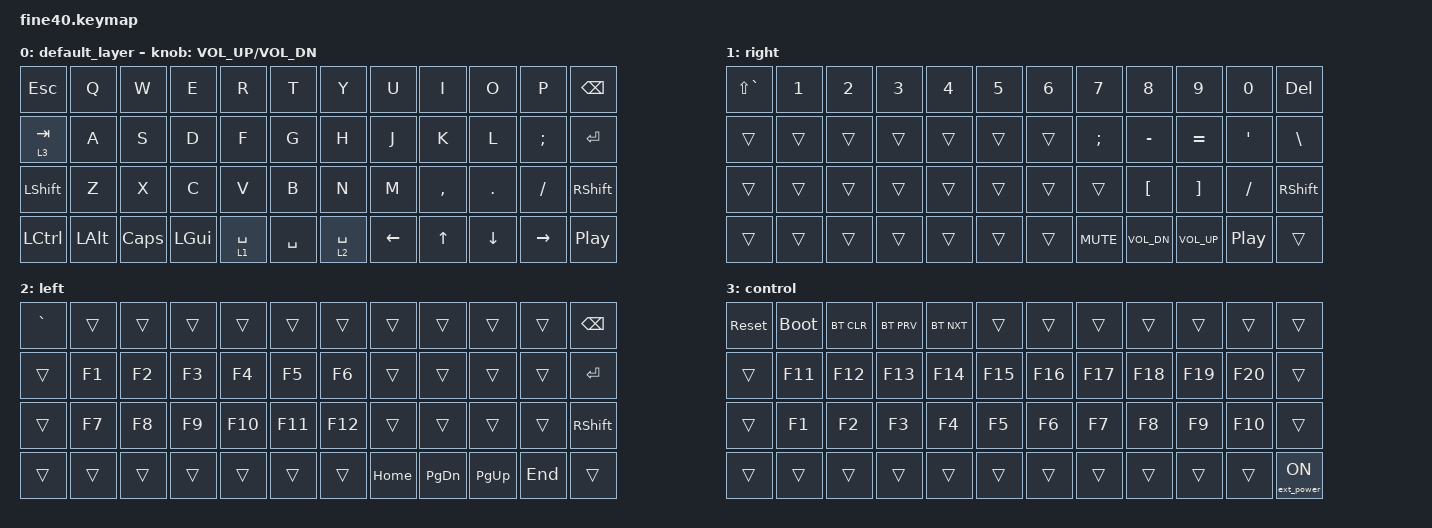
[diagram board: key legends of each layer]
/*
 * Aidan Smith (2021)
 *
 * SPDX-License-Identifier: MIT
 */

#include <behaviors.dtsi>
#include <dt-bindings/zmk/keys.h>
#include <dt-bindings/zmk/bt.h>
#include <dt-bindings/zmk/ext_power.h>

/ {
	keymap {
		compatible = "zmk,keymap";

		default_layer {
				// -----------------------------------------------------------------------------------------
				// |  ESC  |  Q   |  W   |  E   |  R   |  T   |   Y   |  U    |  I   |  O   |   P   | BSPC  |
				// |  TAB  |  A   |  S   |  D   |  F   |  G   |   H   |  J    |  K   |  L   |   ;   |  '    |
				// | SHIFT |  Z   |  X   |  C   |  V   |  B   |   N   |  M    |  ,   |  .   |   /   |  RET  |
				// | LCTL  | LGUI | LALT |  \   | LOWR | SPC  |  RAIS | LARW | DARW | UARW  |  RARW |  P/P  |

				// -----------------------------------------------------------------------------------------
				// |  ESC  |  Q   |  W   |  E   |  R   |  T   |   B   |  V    |  C   |  X   |   Z   |  LSFT |
				// |   Y   |  U   |  I   |  O   |  P   | BSPC |  ENT  |  /    |  .   |  ,   |   M   |   N   |
				// |  TAB  |  A   |  S   |  D   |  F   |  G   |  SPC  |  LOWR |  \   | LALT | LGUI  |  LCTL |
				// |   H   |  J   |  K   |  L   | SCLN | QUTE |  P/P  | RARW | UARW | DARW  |  LARW | RAISE |


			bindings = <
				&kp ESC   &kp Q    &kp W    &kp E    &kp R &kp T     &kp Y       &kp U     &kp I     &kp O     &kp P     &kp BSPC
				&lt 3 TAB &kp A    &kp S    &kp D    &kp F &kp G     &kp H       &kp J     &kp K     &kp L     &kp SEMI  &kp RET
				&kp LSHFT &kp Z    &kp X    &kp C    &kp V &kp B     &kp N       &kp M     &kp COMMA &kp DOT   &kp FSLH  &kp RSHFT
				&kp LCTL  &kp LALT &kp CAPS &kp LGUI &lt 1 SPACE &kp SPACE &lt 2 SPACE &kp LEFT  &kp UP    &kp DOWN  &kp RIGHT &kp C_PP
			>;

			sensor-bindings = <&inc_dec_kp C_VOL_UP C_VOL_DN>;
		};

		right {
			bindings = <
				&kp LS(GRAVE) &kp N1 &kp N2 &kp N3 &kp N4 &kp N5 &kp N6 &kp N7 &kp N8    &kp N9   &kp N0 &kp DEL
				&trans        &trans 	 &trans     &trans     &trans     &trans     &trans     &kp SEMI  &kp MINUS     &kp EQUAL     &kp SQT   &kp BSLH
				&trans        &trans     &trans     &trans     &trans     &trans     &trans     &trans     &kp LBKT &kp RBKT  &kp SLASH     &kp RSHFT
				&trans        &trans     &trans     &trans     &trans     &trans     &trans     &kp C_MUTE &kp C_VOL_DN  &kp C_VOL_UP &kp C_PP   &trans
			>;
		};

		left {
			bindings = <
				&kp GRAVE &trans &trans &trans &trans &trans &trans &trans &trans &trans &trans   &kp BSPC
				&trans    &kp F1 &kp F2 &kp F3 &kp F4 &kp F5 &kp F6 &trans &trans  &trans  &trans &kp RET
				&trans    &kp F7 &kp F8 &kp F9 &kp F10 &kp F11 &kp F12 &trans    &trans    &trans    &trans   &kp RSHFT
				&trans    &trans &trans &trans &trans &trans &trans &kp HOME  &kp PG_DN &kp PG_UP &kp END  &trans
			>;
		};

		control {
			bindings = <
				&sys_reset &bootloader &bt BT_CLR &bt BT_PRV &bt BT_NXT &trans  &trans  &trans  &trans  &trans  &trans  &trans
				&trans     &kp F11     &kp F12    &kp F13    &kp F14    &kp F15 &kp F16 &kp F17 &kp F18 &kp F19 &kp F20 &trans
				&trans     &kp F1      &kp F2     &kp F3     &kp F4     &kp F5  &kp F6  &kp F7  &kp F8  &kp F9  &kp F10 &trans
				&trans     &trans      &trans     &trans     &trans     &trans  &trans  &trans  &trans  &trans  &trans  &ext_power EP_ON
			>;
		};
	};
};
